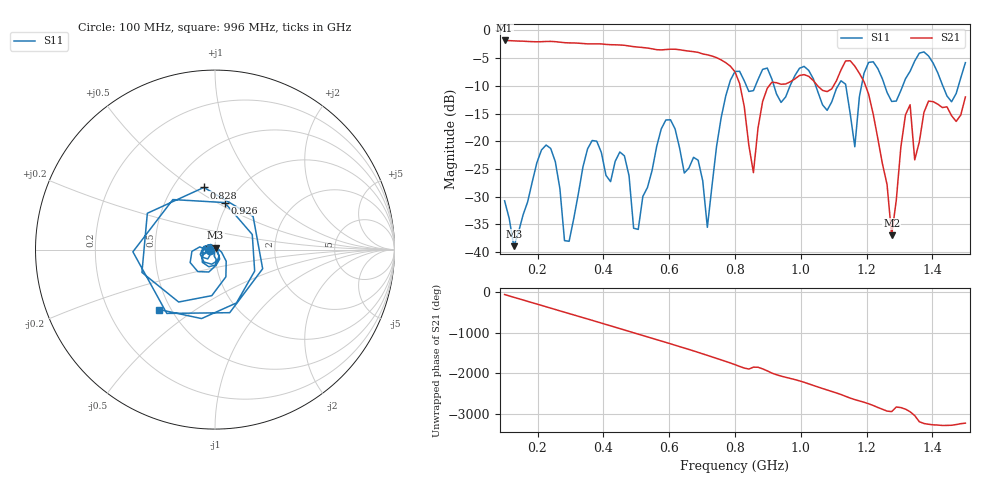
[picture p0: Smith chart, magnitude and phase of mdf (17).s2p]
! NanoVNA-App
! Date: 2025-09-25 15:38:34
! Start: 100MHz Stop: 1,5GHz Points: 101
! S-Parameter data: F S11 S21 S12 S22
# Hz S RI R 50
!  Frequency  S11_Real  S11_Imag  S21_Real  S21_Imag  S12_Real  S12_Imag  S22_Real  S22_Imag
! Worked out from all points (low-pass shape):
!   101 points, 100 MHz to 1.5 GHz, reference 50 ohm
!   highest |S21| = -1.80 dB at 100 MHz (marker M1); lowest = -37.0 dB at 1.276 GHz (marker M2)
!   |S21| within 3 dB of the highest: start of sweep to 739 MHz
!   lowest |S11| = -39.0 dB at 128 MHz (marker M3), VSWR 1.02, Z = 50.3 + j1.08 ohm
!   |S11| at or under -10 dB: start of sweep to 780.9 MHz; 1.045 GHz to 1.113 GHz (67.62 MHz wide, 6.27 % of centre); 1.255 GHz to 1.31 GHz (54.4 MHz wide, 4.24 % of centre) (the widest 3 of 7)
!   S12 and S22 are empty: the file has one direction only
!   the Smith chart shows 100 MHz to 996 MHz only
!   S11 on the Smith chart (normalised r, x): 100 MHz: 0.94, -0.01; 828 MHz: 0.70, +0.56; 926 MHz: 0.96, +0.54; 996 MHz: 0.43, -0.37
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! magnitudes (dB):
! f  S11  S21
! 100 MHz  -30.8  -1.8
! 128 MHz  -39.0  -1.9
! 212 MHz  -21.6  -2.0
! 282 MHz  -38.0  -2.2
! 338 MHz  -24.6  -2.4
! 464 MHz  -22.6  -2.7
! 506 MHz  -35.9  -3.0
! 576 MHz  -17.8  -3.5
! 716 MHz  -35.6  -4.4
! 800 MHz  -7.4  -7.5
! 828 MHz  -9.1  -13.7
! 856 MHz  -10.9  -25.7
! 926 MHz  -11.5  -9.4
! 996 MHz  -6.8  -8.1
! 1.038 GHz  -8.7  -9.1
! 1.136 GHz  -9.7  -5.5
! 1.164 GHz  -21.0  -6.4
! 1.192 GHz  -7.7  -9.2
! 1.276 GHz  -12.8  -37.0
! 1.332 GHz  -7.4  -13.4
! 1.346 GHz  -5.5  -23.4
! 1.5 GHz  -5.8  -12.0
